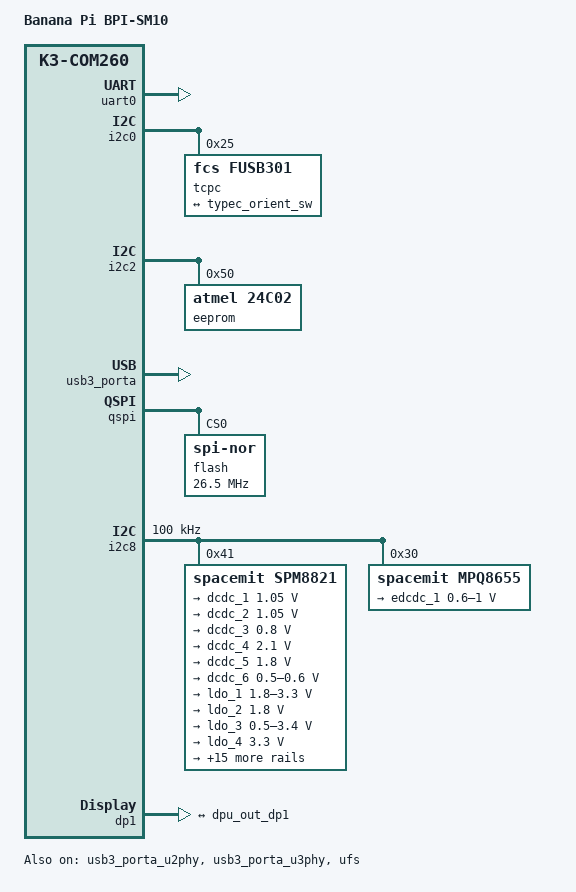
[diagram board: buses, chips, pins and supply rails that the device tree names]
// SPDX-License-Identifier: GPL-2.0+ OR MIT
/*
 * Banana Pi BPI-SM10: SpacemiT K3-CoM260 module on the CoM260 kit V02 carrier.
 * From the Pico-ITX board and SpacemiT's k3_com260.dtsi / k3_com260_kit_v02.dts.
 */

/dts-v1/;

#include "k3.dtsi"
#include <dt-bindings/usb/pd.h>

/ {
	model = "Banana Pi BPI-SM10";
	compatible = "bananapi,bpi-sm10", "spacemit,k3-com260", "spacemit,k3";
};

&pinctrl {
	qspi_grp {
		power-source = <1800>;
	};

	qspi_cs0_grp {
		power-source = <1800>;
	};

	i2c0_0_grp {
		power-source = <3300>;
	};

	i2c2_1_grp {
		power-source = <1800>;
	};

	pinctrl_dp1_3: dp1_3_grp {
		pinctrl-single,pins = <
			K3_PADCONF(GPIO_72, MUX_MODE4, (EDGE_NONE | PULL_DIS | PAD_DS8)) /* dp1_hpd */
		>;
		power-source = <3300>;
	};
};

&uart0 {
	status = "okay";
};

/* USB-C: FUSB301 role and orientation for the download / fastboot port */
&i2c0 {
	pinctrl-names = "default";
	pinctrl-0 = <&pinctrl_i2c0_0>;
	status = "okay";

	tcpc@25 {
		compatible = "fcs,fusb301";
		reg = <0x25>;

		connector {
			compatible = "usb-c-connector";
			label = "USB-C";
			power-role = "dual";
			data-role = "dual";
			try-power-role = "sink";
			source-pdos = <PDO_FIXED(5000, 2500, PDO_FIXED_USB_COMM)>;
			sink-pdos = <PDO_FIXED(5000, 1400, PDO_FIXED_USB_COMM)>;
			op-sink-microwatt = <15000000>;
			self-powered;

			port {
				fusb301_sw_ep: endpoint {
					remote-endpoint = <&typec_orient_sw>;
				};
			};
		};
	};
};

/* Carrier EEPROM: ONIE TLV with the product name ("k3_com260_kit_v02") */
&i2c2 {
	pinctrl-names = "default";
	pinctrl-0 = <&pinctrl_i2c2_1>;
	status = "okay";

	eeprom@50 {
		compatible = "atmel,24c02";
		reg = <0x50>;
		status = "okay";
	};
};

&usb3_porta_u2phy {
	status = "okay";
};

&usb3_porta_u3phy {
	orientation-switch;
	status = "okay";

	port {
		typec_orient_sw: endpoint {
			remote-endpoint = <&fusb301_sw_ep>;
		};
	};
};

&usb3_porta {
	status = "okay";

	dwc3@cad00000 {
		dr_mode = "peripheral";
	};
};

&ufs {
	status = "okay";
};

/* Module SPI-NOR: bootinfo, FSBL, env, ESOS, OpenSBI and U-Boot */
&qspi {
	status = "okay";
	pinctrl-names = "default";
	pinctrl-0 = <&pinctrl_qspi &pinctrl_qspi_cs0>;

	flash@0 {
		compatible = "jedec,spi-nor";
		reg = <0>;
		spi-max-frequency = <26500000>;
		m25p,fast-read;
		broken-flash-reset;
		status = "okay";
	};
};

&i2c8 {
	clock-frequency = <100000>;
	pinctrl-names = "default";
	pinctrl-0 = <&pinctrl_i2c8>;
	spacemit,sda-glitch-nofix;
	status = "okay";

	spm8821: pmic@41 {
		compatible = "spacemit,spm8821", "spacemit,p1";
		reg = <0x41>;
		bus = <8>;

		regulators {
			/* buck */
			dcdc_1: DCDC_REG1 {
				regulator-name = "dcdc1";
				regulator-min-microvolt = <1050000>;
				regulator-max-microvolt = <1050000>;
				regulator-always-on;
				regulator-boot-on;
				regulator-state-mem {
					regulator-suspend-microvolt = <1050000>;
				};
			};

			dcdc_2: DCDC_REG2 {
				regulator-name = "dcdc2";
				regulator-min-microvolt = <1050000>;
				regulator-max-microvolt = <1050000>;
				regulator-always-on;
				regulator-boot-on;
				regulator-state-mem {
					regulator-suspend-microvolt = <1050000>;
				};
			};

			dcdc_3: DCDC_REG3 {
				regulator-name = "dcdc3";
				regulator-min-microvolt = <800000>;
				regulator-max-microvolt = <800000>;
				regulator-always-on;
				regulator-boot-on;
				regulator-state-mem {
					regulator-suspend-microvolt = <800000>;
				};
			};

			dcdc_4: DCDC_REG4 {
				regulator-name = "dcdc4";
				regulator-min-microvolt = <2100000>;
				regulator-max-microvolt = <2100000>;
				regulator-always-on;
				regulator-boot-on;
				regulator-state-mem {
					regulator-suspend-microvolt = <2100000>;
				};
			};

			dcdc_5: DCDC_REG5 {
				regulator-name = "dcdc5";
				regulator-min-microvolt = <1800000>;
				regulator-max-microvolt = <1800000>;
				regulator-always-on;
				regulator-boot-on;
				regulator-state-mem {
					regulator-suspend-microvolt = <1800000>;
				};
			};

			dcdc_6: DCDC_REG6 {
				regulator-name = "dcdc6";
				regulator-min-microvolt = <500000>;
				regulator-max-microvolt = <600000>;
				regulator-always-on;
				regulator-boot-on;
				regulator-state-mem {
					regulator-suspend-microvolt = <500000>;
				};
			};

			/* aldo */
			ldo_1: LDO_REG1 {
				regulator-name = "ldo1";
				regulator-min-microvolt = <1800000>;
				regulator-max-microvolt = <3300000>;
				regulator-always-on;
				regulator-boot-on;
				regulator-state-mem {
					regulator-suspend-microvolt = <1800000>;
				};
			};

			ldo_2: LDO_REG2 {
				regulator-name = "ldo2";
				regulator-min-microvolt = <1800000>;
				regulator-max-microvolt = <1800000>;
				regulator-always-on;
				regulator-boot-on;
				regulator-state-mem {
					regulator-suspend-microvolt = <1800000>;
				};
			};

			ldo_3: LDO_REG3 {
				regulator-name = "ldo3";
				regulator-min-microvolt = <500000>;
				regulator-max-microvolt = <3400000>;
				regulator-state-mem {
					regulator-suspend-microvolt = <3300000>;
				};
			};

			ldo_4: LDO_REG4 {
				regulator-name = "ldo4";
				regulator-min-microvolt = <3300000>;
				regulator-max-microvolt = <3300000>;
				regulator-always-on;
				regulator-boot-on;
				regulator-state-mem {
					regulator-suspend-microvolt = <3300000>;
				};
			};

			/* dldo */
			ldo_5: LDO_REG5 {
				regulator-name = "ldo5";
				regulator-min-microvolt = <1200000>;
				regulator-max-microvolt = <1200000>;
				regulator-always-on;
				regulator-boot-on;
				regulator-state-mem {
					regulator-suspend-microvolt = <1200000>;
				};
			};

			ldo_6: LDO_REG6 {
				regulator-name = "ldo6";
				regulator-min-microvolt = <900000>;
				regulator-max-microvolt = <900000>;
				regulator-always-on;
				regulator-boot-on;
				regulator-state-mem {
					regulator-suspend-microvolt = <900000>;
				};
			};

			ldo_7: LDO_REG7 {
				regulator-name = "ldo7";
				regulator-min-microvolt = <800000>;
				regulator-max-microvolt = <800000>;
				regulator-always-on;
				regulator-boot-on;
				regulator-state-mem {
					regulator-suspend-microvolt = <800000>;
				};
			};

			ldo_8: LDO_REG8 {
				regulator-name = "ldo8";
				regulator-min-microvolt = <1800000>;
				regulator-max-microvolt = <1800000>;
				regulator-boot-on;
				regulator-state-mem {
					regulator-suspend-microvolt = <1800000>;
				};
			};

			ldo_9: LDO_REG9 {
				regulator-name = "ldo9";
				regulator-min-microvolt = <1800000>;
				regulator-max-microvolt = <1800000>;
				regulator-always-on;
				regulator-boot-on;
				regulator-state-mem {
					regulator-suspend-microvolt = <1800000>;
				};
			};

			ldo_10: LDO_REG10 {
				regulator-name = "ldo10";
				regulator-min-microvolt = <1800000>;
				regulator-max-microvolt = <1800000>;
				regulator-always-on;
				regulator-boot-on;
				regulator-state-mem {
					regulator-suspend-microvolt = <1800000>;
				};
			};

			ldo_11: LDO_REG11 {
				regulator-name = "ldo11";
				regulator-min-microvolt = <1800000>;
				regulator-max-microvolt = <1800000>;
				regulator-always-on;
				regulator-boot-on;
				regulator-state-mem {
					regulator-suspend-microvolt = <1800000>;
				};
			};

			sw_2: SWITCH_REG1 {
				regulator-name = "switch1";
			};

			power_event: SWITCH_REG2 {
				regulator-name = "pwr-event";
			};

			power_int: SWITCH_REG3 {
				regulator-name = "pwr-int";
			};

			rtc_ctrl: SWITCH_REG4 {
				regulator-name = "rtc-ctrl";
			};

			rtc_event: SWITCH_REG5 {
				regulator-name = "rtc-event";
			};

			rtc_irq: SWITCH_REG6 {
				regulator-name = "rtc-irq";
			};

			power_down: SWITCH_REG7 {
				regulator-name = "power-down";
			};

			reboot_flag: SWITCH_REG8 {
				regulator-name = "reboot-flag";
			};

			wdt_pm8821: PMIC_WDT {
				wdt-name = "wdt_pm8821";
			};
		};
	};

	/* Kit V02 CPU rail regulator, set by the SPL */
	mpq8655: mpq8655@30 {
		compatible = "spacemit,mpq8655";
		reg = <0x30>;
		bus = <8>;

		regulators {
			edcdc_1: EDCDC_REG1 {
				regulator-name = "edcdc1";
				regulator-min-microvolt = <600000>;
				regulator-max-microvolt = <1000000>;
				regulator-init-microvolt = <880000>;
				regulator-always-on;
				regulator-boot-on;
			};
		};
	};
};

/*
 * Display: DP1 to the DisplayPort connector; no eDP panel on this carrier, so
 * only crtc1 / dp1 are described.
 */
&dpu {
	/*
	 * Keep the display off in U-Boot. The kernel brings the DPU and the DP
	 * link up on its own, so the splash buys nothing, and leaving the PHY
	 * configured here only adds a state the kernel has to undo.
	 */
	status = "disabled";

	dpu_out: port {
		#address-cells = <1>;
		#size-cells = <0>;

		dpu_out_dp1: endpoint@1 {
			reg = <1>;
			remote-endpoint = <&dp1_in_dpu>;
		};
	};
};

&dp1 {
	pinctrl-names = "default";
	pinctrl-0 = <&pinctrl_dp1_3>;
	status = "okay";

	ports {
		dp1_in: port {
			#address-cells = <1>;
			#size-cells = <0>;

			dp1_in_dpu: endpoint@0 {
				reg = <0>;
				remote-endpoint = <&dpu_out_dp1>;
			};
		};
	};
};
